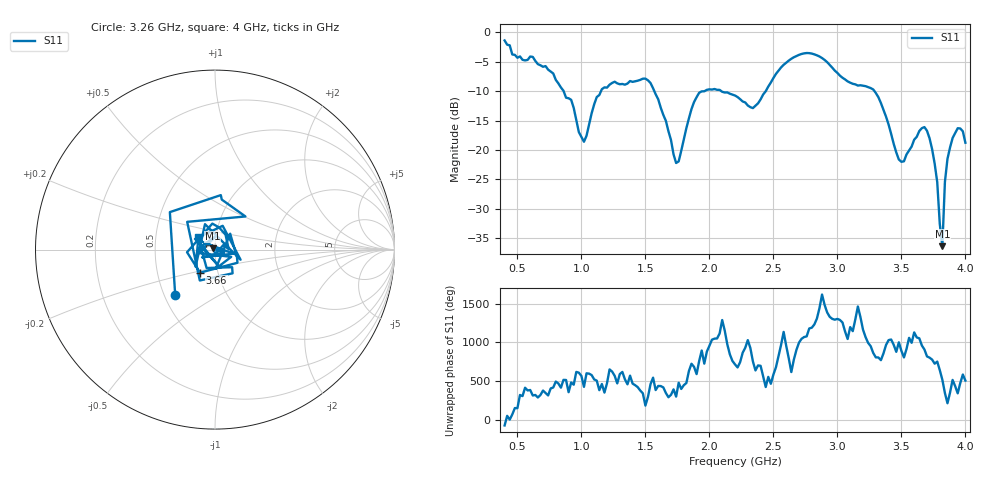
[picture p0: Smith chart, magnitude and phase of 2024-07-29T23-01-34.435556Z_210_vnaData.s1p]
!Created with skrf (http://scikit-rf.org).
# Hz S RI R 50.0
!freq ReS11 ImS11
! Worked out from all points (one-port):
!   181 points, 400 MHz to 4 GHz, reference 50 ohm
!   lowest |S11| = -36.4 dB at 3.82 GHz (marker M1), VSWR 1.03, Z = 48.6 + j0.653 ohm
!   |S11| at or under -10 dB: 1.57 GHz to 1.962 GHz (391.9 MHz wide, 22.2 % of centre); 2.093 GHz to 2.44 GHz (347 MHz wide, 15.3 % of centre); 3.29 GHz to end of sweep (the widest 3 of 4)
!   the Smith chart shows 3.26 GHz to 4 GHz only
!   S11 on the Smith chart (normalised r, x): 3.26 GHz: 0.57, -0.32; 3.66 GHz: 0.82, -0.22; 4 GHz: 0.82, +0.12
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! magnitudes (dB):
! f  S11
! 400 MHz  -1.4
! 720 MHz  -5.7
! 860 MHz  -9.9
! 920 MHz  -11.5
! 1.02 GHz  -18.6
! 1.12 GHz  -11.0
! 1.3 GHz  -8.8
! 1.54 GHz  -8.6
! 1.76 GHz  -21.9
! 1.86 GHz  -13.0
! 1.92 GHz  -10.3
! 2.2 GHz  -10.7
! 2.34 GHz  -12.9
! 2.66 GHz  -4.2
! 2.84 GHz  -3.9
! 3.1 GHz  -8.6
! 3.26 GHz  -9.5
! 3.34 GHz  -12.0
! 3.48 GHz  -21.6
! 3.56 GHz  -20.1
! 3.66 GHz  -16.3
! 3.7 GHz  -16.7
! 3.76 GHz  -22.3
! 3.82 GHz  -36.4
! 3.84 GHz  -25.4
! 3.86 GHz  -21.5
! 3.94 GHz  -16.3
! 4 GHz  -18.8
